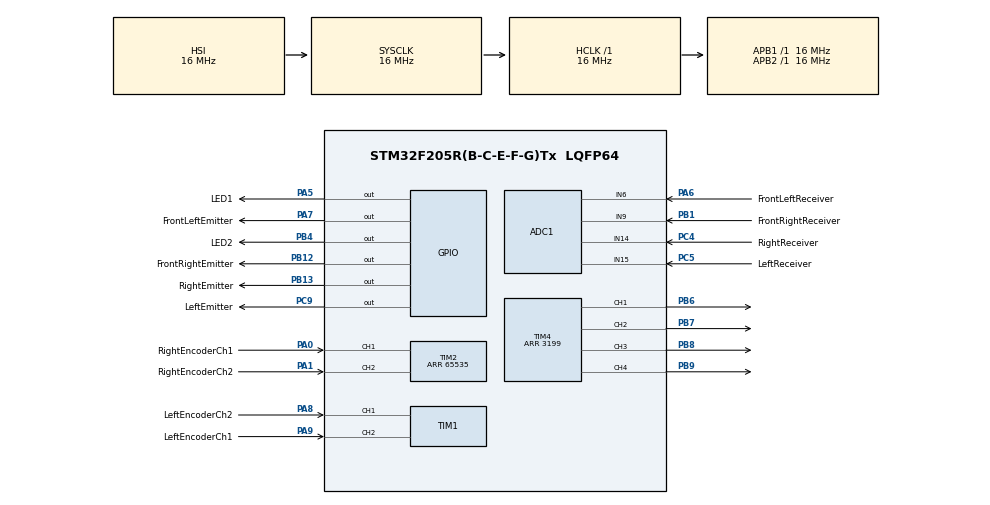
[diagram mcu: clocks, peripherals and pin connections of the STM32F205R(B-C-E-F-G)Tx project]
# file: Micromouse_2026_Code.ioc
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ADC1.Channel-0\#ChannelRegularConversion=ADC_CHANNEL_15
ADC1.ContinuousConvMode=ENABLE
ADC1.DMAContinuousRequests=ENABLE
ADC1.NbrOfConversionFlag=1
ADC1.Rank-0\#ChannelRegularConversion=1
ADC1.SamplingTime-0\#ChannelRegularConversion=ADC_SAMPLETIME_3CYCLES
ADC1.master=1
Dma.ADC1.0.Direction=DMA_PERIPH_TO_MEMORY
Dma.ADC1.0.FIFOMode=DMA_FIFOMODE_DISABLE
Dma.ADC1.0.Instance=DMA2_Stream0
Dma.ADC1.0.MemDataAlignment=DMA_MDATAALIGN_HALFWORD
Dma.ADC1.0.MemInc=DMA_MINC_ENABLE
Dma.ADC1.0.Mode=DMA_CIRCULAR
Dma.ADC1.0.PeriphDataAlignment=DMA_PDATAALIGN_HALFWORD
Dma.ADC1.0.PeriphInc=DMA_PINC_DISABLE
Dma.ADC1.0.Priority=DMA_PRIORITY_LOW
Dma.Request0=ADC1
Mcu.Family=STM32F2
Mcu.Name=STM32F205R(B-C-E-F-G)Tx
Mcu.Package=LQFP64
NVIC.DMA2_Stream0_IRQn=true\:0\:0\:false\:false\:true\:false\:true\:true
NVIC.PriorityGroup=NVIC_PRIORITYGROUP_4
NVIC.TIM4_IRQn=true\:0\:0\:false\:false\:true\:true\:true\:true
PA0-WKUP.GPIO_Label=RightEncoderCh1
PA0-WKUP.Signal=S_TIM2_CH1_ETR
PA1.GPIO_Label=RightEncoderCh2
PA1.Signal=S_TIM2_CH2
PA13.GPIO_Label=SWDIO
PA13.Signal=SYS_JTMS-SWDIO
PA14.GPIO_Label=SWCLK
PA14.Signal=SYS_JTCK-SWCLK
PA5.GPIO_Label=LED1
PA5.Signal=GPIO_Output
PA6.GPIO_Label=FrontLeftReceiver
PA6.Signal=ADCx_IN6
PA7.GPIO_Label=FrontLeftEmitter
PA7.Signal=GPIO_Output
PA8.GPIO_Label=LeftEncoderCh2
PA8.Signal=S_TIM1_CH1
PA9.GPIO_Label=LeftEncoderCh1
PA9.Signal=S_TIM1_CH2
PB1.GPIO_Label=FrontRightReceiver
PB1.Signal=ADCx_IN9
PB12.GPIO_Label=FrontRightEmitter
PB12.Signal=GPIO_Output
PB13.GPIO_Label=RightEmitter
PB13.Signal=GPIO_Output
PB4.GPIO_Label=LED2
PB4.Signal=GPIO_Output
PB6.Signal=S_TIM4_CH1
PB7.Signal=S_TIM4_CH2
PB8.Signal=S_TIM4_CH3
PB9.Signal=S_TIM4_CH4
PC4.GPIO_Label=RightReceiver
PC4.Signal=ADCx_IN14
PC5.GPIO_Label=LeftReceiver
PC5.Signal=ADCx_IN15
PC9.GPIO_Label=LeftEmitter
PC9.Signal=GPIO_Output
ProjectManager.HeapSize=0x200
ProjectManager.StackSize=0x400
ProjectManager.TargetToolchain=STM32CubeIDE
RCC.48MHZClocksFreq_Value=48000000
RCC.AHBFreq_Value=16000000
RCC.APB1Freq_Value=16000000
RCC.APB2Freq_Value=16000000
RCC.CortexFreq_Value=16000000
RCC.HSE_VALUE=25000000
RCC.HSI_VALUE=16000000
RCC.LSE_VALUE=32768
RCC.SYSCLKFreq_VALUE=16000000
RCC.VCOOutputFreq_Value=192000000
SH.ADCx_IN14.0=ADC1_IN14,IN14
SH.ADCx_IN15.0=ADC1_IN15,IN15
SH.ADCx_IN6.0=ADC1_IN6,IN6
SH.ADCx_IN9.0=ADC1_IN9,IN9
SH.S_TIM1_CH1.0=TIM1_CH1,Encoder_Interface
SH.S_TIM1_CH2.0=TIM1_CH2,Encoder_Interface
SH.S_TIM2_CH1_ETR.0=TIM2_CH1,Encoder_Interface
SH.S_TIM2_CH2.0=TIM2_CH2,Encoder_Interface
SH.S_TIM4_CH1.0=TIM4_CH1,PWM Generation1 CH1
SH.S_TIM4_CH2.0=TIM4_CH2,PWM Generation2 CH2
SH.S_TIM4_CH3.0=TIM4_CH3,PWM Generation3 CH3
SH.S_TIM4_CH4.0=TIM4_CH4,PWM Generation4 CH4
TIM1.EncoderMode=TIM_ENCODERMODE_TI12
TIM2.EncoderMode=TIM_ENCODERMODE_TI12
TIM2.Period=65535
TIM4.Channel-PWM\ Generation1\ CH1=TIM_CHANNEL_1
TIM4.Channel-PWM\ Generation2\ CH2=TIM_CHANNEL_2
TIM4.Channel-PWM\ Generation3\ CH3=TIM_CHANNEL_3
TIM4.Channel-PWM\ Generation4\ CH4=TIM_CHANNEL_4
TIM4.Period=3199
board=custom

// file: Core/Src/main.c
/* USER CODE BEGIN Header */
/**
  ******************************************************************************
  * @file           : main.c
  * @brief          : Main program body
  ******************************************************************************
  * @attention
  *
  * Copyright (c) 2026 STMicroelectronics.
  * All rights reserved.
  *
  * This software is licensed under terms that can be found in the LICENSE file
  * in the root directory of this software component.
  * If no LICENSE file comes with this software, it is provided AS-IS.
  *
  ******************************************************************************
  */
/* USER CODE END Header */
#include "main.h"

/* USER CODE BEGIN Includes */
#include "encoders.h"
#include "motors.h"
#include "delay.h"
#include "solver.h"
#include "controller.h"
/* USER CODE END Includes */

ADC_HandleTypeDef hadc1;
DMA_HandleTypeDef hdma_adc1;

TIM_HandleTypeDef htim1;
TIM_HandleTypeDef htim2;
TIM_HandleTypeDef htim4;

/* USER CODE BEGIN PV */
Maze maze;
/* USER CODE END PV */

void SystemClock_Config(void);
static void MX_GPIO_Init(void);
static void MX_DMA_Init(void);
static void MX_ADC1_Init(void);
static void MX_TIM1_Init(void);
static void MX_TIM2_Init(void);
static void MX_TIM4_Init(void);

int main(void)
{

  /* MCU Configuration--------------------------------------------------------*/

  /* Reset of all peripherals, Initializes the Flash interface and the Systick. */
  HAL_Init();

  /* USER CODE BEGIN Init */
  Delay_Init();
  /* USER CODE END Init */

  /* Configure the system clock */
  SystemClock_Config();

  /* Initialize all configured peripherals */
  MX_GPIO_Init();
  MX_DMA_Init();
  MX_ADC1_Init();
  MX_TIM1_Init();
  MX_TIM2_Init();
  MX_TIM4_Init();
  /* USER CODE BEGIN 2 */
  HAL_TIM_Encoder_Start(&htim1, TIM_CHANNEL_ALL);
  HAL_TIM_Encoder_Start(&htim2, TIM_CHANNEL_ALL);
  HAL_TIM_PWM_Start(&htim4, TIM_CHANNEL_1);
  HAL_TIM_PWM_Start(&htim4, TIM_CHANNEL_2);
  HAL_TIM_PWM_Start(&htim4, TIM_CHANNEL_3);
  HAL_TIM_PWM_Start(&htim4, TIM_CHANNEL_4);
  resetMotors();
  maze_init(&maze);
  // setMotorLPWM(0.5); set left motor speed
  // setMotorRPWM(0.5); set right motor speed
  /* USER CODE END 2 */

  /* Infinite loop */
  /* USER CODE BEGIN WHILE */
  while (1)
  {
	  Action toDo = solver(&maze);
	  switch (toDo) {
	  case LEFT:
		  turn(-1);
		  break;
	  case FORWARD:
		  move(1);
		  break;
	  case RIGHT:
		  turn(1);
		  break;
	  case IDLE:
		  break;
	  case UTURN:
		  turn(2);
		  break;
	  }
    /* USER CODE END WHILE */

  }
}

void SystemClock_Config(void)
{
  RCC_OscInitTypeDef RCC_OscInitStruct = {0};
  RCC_ClkInitTypeDef RCC_ClkInitStruct = {0};

  /** Initializes the RCC Oscillators according to the specified parameters
  * in the RCC_OscInitTypeDef structure.
  */
  RCC_OscInitStruct.OscillatorType = RCC_OSCILLATORTYPE_HSI;
  RCC_OscInitStruct.HSIState = RCC_HSI_ON;
  RCC_OscInitStruct.HSICalibrationValue = RCC_HSICALIBRATION_DEFAULT;
  RCC_OscInitStruct.PLL.PLLState = RCC_PLL_NONE;
  if (HAL_RCC_OscConfig(&RCC_OscInitStruct) != HAL_OK)
  {
    Error_Handler();
  }

  /** Initializes the CPU, AHB and APB buses clocks
  */
  RCC_ClkInitStruct.ClockType = RCC_CLOCKTYPE_HCLK|RCC_CLOCKTYPE_SYSCLK
                              |RCC_CLOCKTYPE_PCLK1|RCC_CLOCKTYPE_PCLK2;
  RCC_ClkInitStruct.SYSCLKSource = RCC_SYSCLKSOURCE_HSI;
  RCC_ClkInitStruct.AHBCLKDivider = RCC_SYSCLK_DIV1;
  RCC_ClkInitStruct.APB1CLKDivider = RCC_HCLK_DIV1;
  RCC_ClkInitStruct.APB2CLKDivider = RCC_HCLK_DIV1;

  if (HAL_RCC_ClockConfig(&RCC_ClkInitStruct, FLASH_LATENCY_0) != HAL_OK)
  {
    Error_Handler();
  }
}

static void MX_ADC1_Init(void)
{

  ADC_ChannelConfTypeDef sConfig = {0};

  /** Configure the global features of the ADC (Clock, Resolution, Data Alignment and number of conversion)
  */
  hadc1.Instance = ADC1;
  hadc1.Init.ClockPrescaler = ADC_CLOCK_SYNC_PCLK_DIV2;
  hadc1.Init.Resolution = ADC_RESOLUTION_12B;
  hadc1.Init.ScanConvMode = DISABLE;
  hadc1.Init.ContinuousConvMode = ENABLE;
  hadc1.Init.DiscontinuousConvMode = DISABLE;
  hadc1.Init.ExternalTrigConvEdge = ADC_EXTERNALTRIGCONVEDGE_NONE;
  hadc1.Init.ExternalTrigConv = ADC_SOFTWARE_START;
  hadc1.Init.DataAlign = ADC_DATAALIGN_RIGHT;
  hadc1.Init.NbrOfConversion = 1;
  hadc1.Init.DMAContinuousRequests = ENABLE;
  hadc1.Init.EOCSelection = ADC_EOC_SINGLE_CONV;
  if (HAL_ADC_Init(&hadc1) != HAL_OK)
  {
    Error_Handler();
  }

  /** Configure for the selected ADC regular channel its corresponding rank in the sequencer and its sample time.
  */
  sConfig.Channel = ADC_CHANNEL_15;
  sConfig.Rank = 1;
  sConfig.SamplingTime = ADC_SAMPLETIME_3CYCLES;
  if (HAL_ADC_ConfigChannel(&hadc1, &sConfig) != HAL_OK)
  {
    Error_Handler();
  }

}

static void MX_TIM1_Init(void)
{

  TIM_Encoder_InitTypeDef sConfig = {0};
  TIM_MasterConfigTypeDef sMasterConfig = {0};

  htim1.Instance = TIM1;
  htim1.Init.Prescaler = 0;
  htim1.Init.CounterMode = TIM_COUNTERMODE_UP;
  htim1.Init.Period = 65535;
  htim1.Init.ClockDivision = TIM_CLOCKDIVISION_DIV1;
  htim1.Init.RepetitionCounter = 0;
  htim1.Init.AutoReloadPreload = TIM_AUTORELOAD_PRELOAD_DISABLE;
  sConfig.EncoderMode = TIM_ENCODERMODE_TI12;
  sConfig.IC1Polarity = TIM_ICPOLARITY_RISING;
  sConfig.IC1Selection = TIM_ICSELECTION_DIRECTTI;
  sConfig.IC1Prescaler = TIM_ICPSC_DIV1;
  sConfig.IC1Filter = 0;
  sConfig.IC2Polarity = TIM_ICPOLARITY_RISING;
  sConfig.IC2Selection = TIM_ICSELECTION_DIRECTTI;
  sConfig.IC2Prescaler = TIM_ICPSC_DIV1;
  sConfig.IC2Filter = 0;
  if (HAL_TIM_Encoder_Init(&htim1, &sConfig) != HAL_OK)
  {
    Error_Handler();
  }
  sMasterConfig.MasterOutputTrigger = TIM_TRGO_RESET;
  sMasterConfig.MasterSlaveMode = TIM_MASTERSLAVEMODE_DISABLE;
  if (HAL_TIMEx_MasterConfigSynchronization(&htim1, &sMasterConfig) != HAL_OK)
  {
    Error_Handler();
  }

}

static void MX_TIM2_Init(void)
{

  TIM_Encoder_InitTypeDef sConfig = {0};
  TIM_MasterConfigTypeDef sMasterConfig = {0};

  htim2.Instance = TIM2;
  htim2.Init.Prescaler = 0;
  htim2.Init.CounterMode = TIM_COUNTERMODE_UP;
  htim2.Init.Period = 65535;
  htim2.Init.ClockDivision = TIM_CLOCKDIVISION_DIV1;
  htim2.Init.AutoReloadPreload = TIM_AUTORELOAD_PRELOAD_DISABLE;
  sConfig.EncoderMode = TIM_ENCODERMODE_TI12;
  sConfig.IC1Polarity = TIM_ICPOLARITY_RISING;
  sConfig.IC1Selection = TIM_ICSELECTION_DIRECTTI;
  sConfig.IC1Prescaler = TIM_ICPSC_DIV1;
  sConfig.IC1Filter = 0;
  sConfig.IC2Polarity = TIM_ICPOLARITY_RISING;
  sConfig.IC2Selection = TIM_ICSELECTION_DIRECTTI;
  sConfig.IC2Prescaler = TIM_ICPSC_DIV1;
  sConfig.IC2Filter = 0;
  if (HAL_TIM_Encoder_Init(&htim2, &sConfig) != HAL_OK)
  {
    Error_Handler();
  }
  sMasterConfig.MasterOutputTrigger = TIM_TRGO_RESET;
  sMasterConfig.MasterSlaveMode = TIM_MASTERSLAVEMODE_DISABLE;
  if (HAL_TIMEx_MasterConfigSynchronization(&htim2, &sMasterConfig) != HAL_OK)
  {
    Error_Handler();
  }

}

static void MX_TIM4_Init(void)
{

  TIM_MasterConfigTypeDef sMasterConfig = {0};
  TIM_OC_InitTypeDef sConfigOC = {0};

  htim4.Instance = TIM4;
  htim4.Init.Prescaler = 0;
  htim4.Init.CounterMode = TIM_COUNTERMODE_UP;
  htim4.Init.Period = 3199;
  htim4.Init.ClockDivision = TIM_CLOCKDIVISION_DIV1;
  htim4.Init.AutoReloadPreload = TIM_AUTORELOAD_PRELOAD_DISABLE;
  if (HAL_TIM_PWM_Init(&htim4) != HAL_OK)
  {
    Error_Handler();
  }
  sMasterConfig.MasterOutputTrigger = TIM_TRGO_RESET;
  sMasterConfig.MasterSlaveMode = TIM_MASTERSLAVEMODE_DISABLE;
  if (HAL_TIMEx_MasterConfigSynchronization(&htim4, &sMasterConfig) != HAL_OK)
  {
    Error_Handler();
  }
  sConfigOC.OCMode = TIM_OCMODE_PWM1;
  sConfigOC.Pulse = 0;
  sConfigOC.OCPolarity = TIM_OCPOLARITY_HIGH;
  sConfigOC.OCFastMode = TIM_OCFAST_DISABLE;
  if (HAL_TIM_PWM_ConfigChannel(&htim4, &sConfigOC, TIM_CHANNEL_1) != HAL_OK)
  {
    Error_Handler();
  }
  if (HAL_TIM_PWM_ConfigChannel(&htim4, &sConfigOC, TIM_CHANNEL_2) != HAL_OK)
  {
    Error_Handler();
  }
  if (HAL_TIM_PWM_ConfigChannel(&htim4, &sConfigOC, TIM_CHANNEL_3) != HAL_OK)
  {
    Error_Handler();
  }
  if (HAL_TIM_PWM_ConfigChannel(&htim4, &sConfigOC, TIM_CHANNEL_4) != HAL_OK)
  {
    Error_Handler();
  }
  HAL_TIM_MspPostInit(&htim4);

}

static void MX_DMA_Init(void)
{

  /* DMA controller clock enable */
  __HAL_RCC_DMA2_CLK_ENABLE();

  /* DMA interrupt init */
  /* DMA2_Stream0_IRQn interrupt configuration */
  HAL_NVIC_SetPriority(DMA2_Stream0_IRQn, 0, 0);
  HAL_NVIC_EnableIRQ(DMA2_Stream0_IRQn);

}

static void MX_GPIO_Init(void)
{
  GPIO_InitTypeDef GPIO_InitStruct = {0};

  /* GPIO Ports Clock Enable */
  __HAL_RCC_GPIOA_CLK_ENABLE();
  __HAL_RCC_GPIOC_CLK_ENABLE();
  __HAL_RCC_GPIOB_CLK_ENABLE();

  /*Configure GPIO pin Output Level */
  HAL_GPIO_WritePin(GPIOA, LED1_Pin|FrontLeftEmitter_Pin, GPIO_PIN_RESET);

  /*Configure GPIO pin Output Level */
  HAL_GPIO_WritePin(GPIOB, FrontRightEmitter_Pin|RightEmitter_Pin|LED2_Pin, GPIO_PIN_RESET);

  /*Configure GPIO pin Output Level */
  HAL_GPIO_WritePin(LeftEmitter_GPIO_Port, LeftEmitter_Pin, GPIO_PIN_RESET);

  /*Configure GPIO pins : LED1_Pin FrontLeftEmitter_Pin */
  GPIO_InitStruct.Pin = LED1_Pin|FrontLeftEmitter_Pin;
  GPIO_InitStruct.Mode = GPIO_MODE_OUTPUT_PP;
  GPIO_InitStruct.Pull = GPIO_NOPULL;
  GPIO_InitStruct.Speed = GPIO_SPEED_FREQ_LOW;
  HAL_GPIO_Init(GPIOA, &GPIO_InitStruct);

  /*Configure GPIO pins : FrontRightEmitter_Pin RightEmitter_Pin LED2_Pin */
  GPIO_InitStruct.Pin = FrontRightEmitter_Pin|RightEmitter_Pin|LED2_Pin;
  GPIO_InitStruct.Mode = GPIO_MODE_OUTPUT_PP;
  GPIO_InitStruct.Pull = GPIO_NOPULL;
  GPIO_InitStruct.Speed = GPIO_SPEED_FREQ_LOW;
  HAL_GPIO_Init(GPIOB, &GPIO_InitStruct);

  /*Configure GPIO pin : LeftEmitter_Pin */
  GPIO_InitStruct.Pin = LeftEmitter_Pin;
  GPIO_InitStruct.Mode = GPIO_MODE_OUTPUT_PP;
  GPIO_InitStruct.Pull = GPIO_NOPULL;
  GPIO_InitStruct.Speed = GPIO_SPEED_FREQ_LOW;
  HAL_GPIO_Init(LeftEmitter_GPIO_Port, &GPIO_InitStruct);

}

/* USER CODE BEGIN 4 */
ADC_HandleTypeDef* Get_HADC1_Ptr(void)
{
	return &hadc1;
}

/* USER CODE END 4 */

void Error_Handler(void)
{
  __disable_irq();
  while (1)
  {
  }
}
